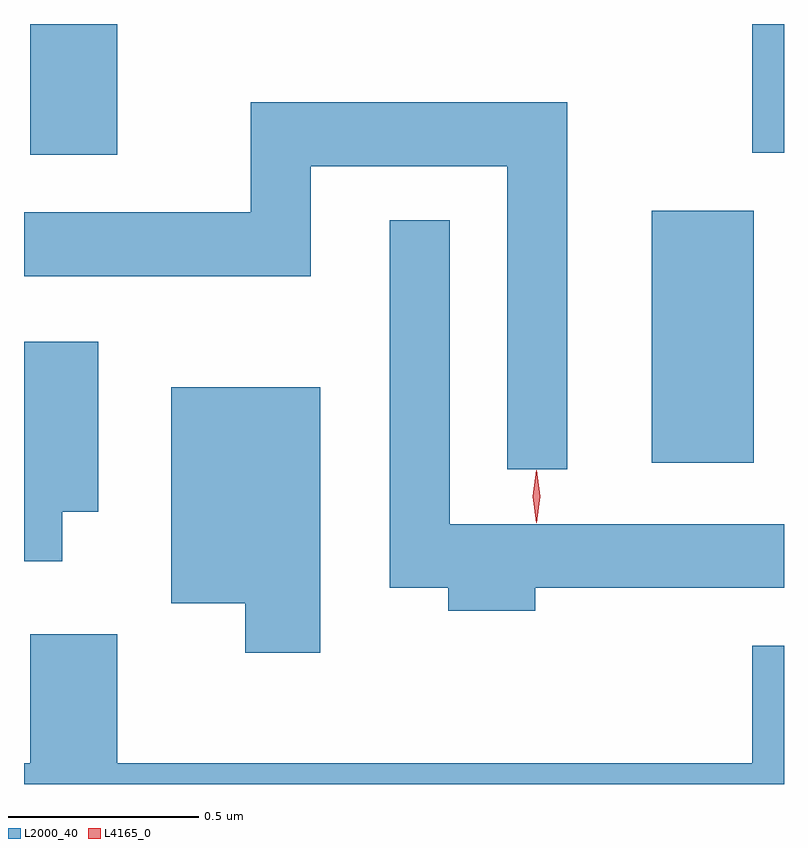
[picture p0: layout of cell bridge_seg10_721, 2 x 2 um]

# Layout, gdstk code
import gdstk
lib = gdstk.Library(unit=1e-6, precision=1e-09)
def R(c, l, rs):  # rectangles x0, y0, x1, y1
    for r in rs: c.add(gdstk.rectangle(r[:2], r[2:], *l))
def P(c, l, *ps):  # polygons
    for p in ps: c.add(gdstk.Polygon(p, *l))
L2000_40 = (2000, 40)
L4165_0 = (4165, 0)

bridge_seg10_721 = lib.new_cell('bridge_seg10_721')
R(bridge_seg10_721, L2000_40, [(1042.576,2121.636,1042.844,2122.299), (1040.941,2122.446,1041.169,2122.79), (1042.841,2122.451,1042.924,2122.79)])
P(bridge_seg10_721, L2000_40, [(1042.354,2122.584),(1041.521,2122.584),(1041.521,2122.294),(1040.924,2122.294),(1040.924,2122.126),(1041.679,2122.126),(1041.679,2122.416),(1042.196,2122.416),(1042.196,2121.618),(1042.354,2121.618)],
  [(1042.269,2121.306),(1042.924,2121.306),(1042.924,2121.474),(1042.044,2121.474),(1042.044,2122.273),(1041.886,2122.273),(1041.886,2121.306),(1042.041,2121.306),(1042.041,2121.246),(1042.269,2121.246)],
  [(1041.024,2121.506),(1041.119,2121.506),(1041.119,2121.954),(1040.924,2121.954),(1040.924,2121.376),(1041.024,2121.376)],
  [(1041.704,2121.834),(1041.311,2121.834),(1041.311,2121.266),(1041.506,2121.266),(1041.506,2121.136),(1041.704,2121.136)],
  [(1042.924,2121.154),(1042.841,2121.154),(1042.841,2120.844),(1041.169,2120.844),(1041.169,2121.184),(1040.941,2121.184),(1040.941,2120.844),(1040.924,2120.844),(1040.924,2120.79),(1042.924,2120.79)])
P(bridge_seg10_721, L4165_0, [(1042.273,2121.479),(1042.272,2121.48),(1042.263,2121.546),(1042.272,2121.613),(1042.273,2121.613),(1042.273,2121.613),(1042.283,2121.546),(1042.273,2121.48)],
  [(1042.272,2121.477),(1042.263,2121.547),(1042.272,2121.616),(1042.273,2121.616),(1042.273,2121.616),(1042.283,2121.547),(1042.273,2121.477),(1042.273,2121.477)])

lib.write_gds('bridge_seg10_721.gds')
